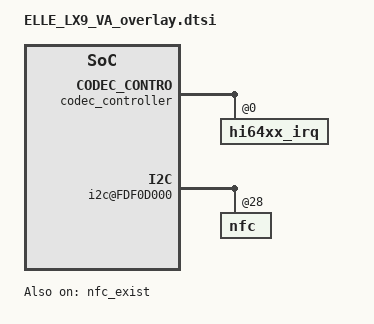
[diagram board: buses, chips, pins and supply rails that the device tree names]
/**
 * Copyright (C) 2014 Hisilicon Ltd.
 *
 *  This program is free software; you can redistribute it and/or modify
 *  it under the terms of the GNU General Public License version 2 as
 *  publishhed by the Free Software Foundation.
 */

/include/ "ELLE_TUGL_VA_overlay.dtsi"

/ {
    board_id = <8480>;
};
    &rootparam{
		compatible = "hisilicon,vendor";
		hisi,boardid = <8 4 8 0>;
		hisi,boardname = "ELLE_LX9_VA";
		hisi,modem_id = <0x37040400>;
		hisi,product_id = <0x37040400>;
		hisi,product_name = "ELE-LX9";
	};
	&codec_controller {
		hi64xx_irq@0{
				hi6405_codec@0 {
						hisilicon,wakeup_hisi_algo_support = <0>;
				};
		};
	};

    &amba {
		i2c@FDF0D000 {
				nfc:nfc@28{
						clk_status = "xtal";
				};
		};
    };
	&nfc_exist {
		hisee_exist_flag = "0";
		status = "ok";
	};
    /*hisi customize*/
    &hisi_cust_cfg {
        ini_file_name = "/vendor/etc/cfg_elle_lx9_va.ini";
    };

	&audio_hw_config {
		audio_capability {
			/*
				use hisilicon wakeup engine.
				true: use hisilicon wakeup engine.
				false: DO NOT use hisilicon wakeup engine.
			*/
			wakeup_hisiengine = "false";
		};
	};

    &sensorhub{
            sar{
                    sar1{
                            status = "ok";
                    };
                    sar2{
                            status = "disabled";
                    };
            };
              	rpc{
                       rpc{
                             compatible = "huawei,rpc";
                             file_id = <0x18>;
                             sensor_list_info_id = <24>;
                             sensor_type = "rpc";
                             sensorlist_name = "rpc";
                             mask = <0xFFFF 0x60F 0x60F 0x60F 0x60F 0x20F 0x20F 0x20F
                                     0x20F 0xFFFF 0xFFFF 0xFFFF 0xFFFF 0xFFFF 0xFFFF 0xFFFF
                                     0xFFFF 0xFFFF 0xFFFF 0xFFFF 0xFFFF 0xFFFF 0xFFFF 0xFFFF
                                     0xFFFF 0xFFFF 0xFFFF 0xFFFF 0xFFFF 0xF 0xFFFF 0xFFFF>;
                            table = <0xFFFF 0x201 0x202 0x203 0x207 0x1 0x2 0x3
                                     0x7 0xFFFF 0xFFFF 0xFFFF 0xFFFF 0xFFFF 0xFFFF 0xFFFF
                                     0xFFFF 0xFFFF 0xFFFF 0xFFFF 0xFFFF 0xFFFF 0xFFFF 0xFFFF
                                     0xFFFF 0xFFFF 0xFFFF 0xFFFF 0xFFFF 0x0 0xFFFF 0xFFFF>;
                            mask_enable = <0x0200>;
                            default_value = <0x1D>;
                            status = "ok";
                         };
                 };
    };
